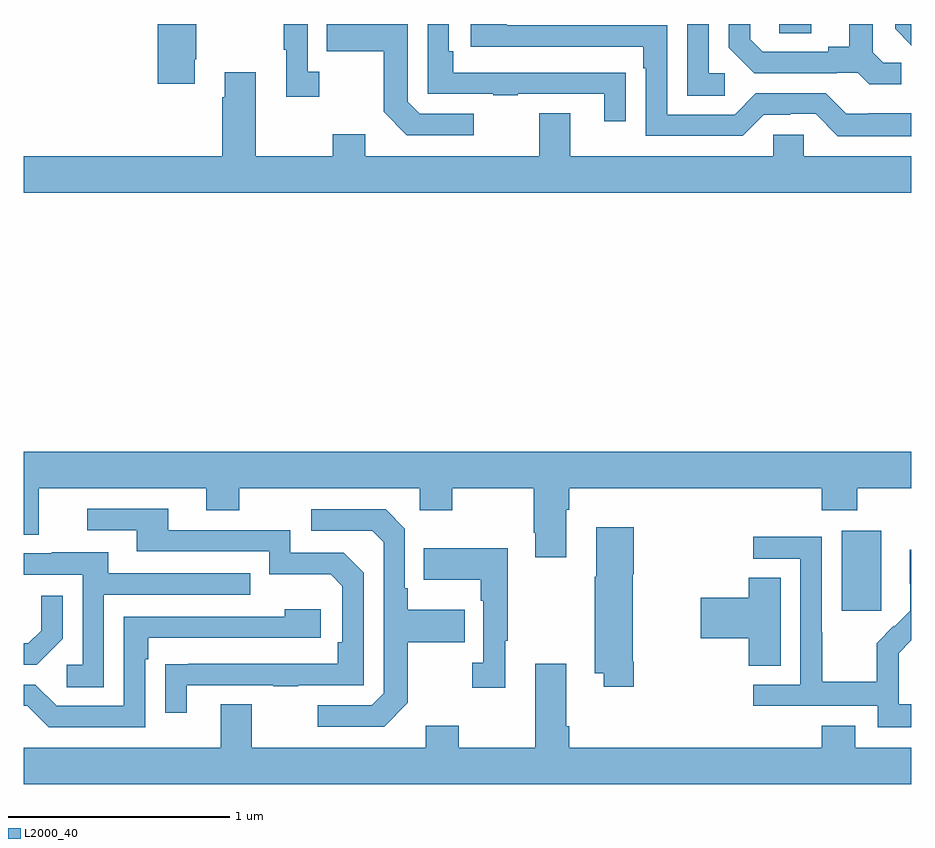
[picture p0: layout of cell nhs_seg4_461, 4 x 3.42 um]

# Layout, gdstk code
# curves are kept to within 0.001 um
import gdstk
lib = gdstk.Library(unit=1e-6, precision=1e-09)
def R(c, l, rs):  # rectangles x0, y0, x1, y1
    for r in rs: c.add(gdstk.rectangle(r[:2], r[2:], *l))
def P(c, l, *ps):  # polygons
    for p in ps: c.add(gdstk.Polygon(p, *l))
L2000_40 = (2000, 40)

nhs_seg4_461 = lib.new_cell('nhs_seg4_461')
R(nhs_seg4_461, L2000_40, [(136.685,808.257,136.864,808.618), (136.404,810.859,136.549,810.9)])
P(nhs_seg4_461, L2000_40, [(137,810.499),(136.807,810.499),(136.807,810.495),(136.707,810.495),(136.614,810.588),(136.299,810.588),(136.203,810.492),(135.9,810.492),(135.9,810.894),(135.176,810.894),(135.176,810.9),(135.015,810.9),(135.015,810.798),(135.791,810.798),(135.791,810.701),(135.804,810.701),(135.804,810.396),(136.239,810.396),(136.335,810.492),(136.454,810.492),(136.454,810.495),(136.569,810.495),(136.669,810.395),(137,810.395)],
  [(137,810.9),(136.926,810.9),(136.926,810.878),(136.999,810.805),(136.998,810.804),(137,810.802)],
  [(134.332,810.686),(134.28,810.686),(134.28,810.9),(134.172,810.9),(134.172,810.785),(134.183,810.785),(134.183,810.573),(134.332,810.573)],
  [(136.954,810.726),(136.872,810.726),(136.825,810.773),(136.825,810.9),(136.721,810.9),(136.721,810.797),(136.625,810.797),(136.625,810.774),(136.33,810.774),(136.273,810.831),(136.273,810.9),(136.176,810.9),(136.176,810.794),(136.292,810.678),(136.664,810.678),(136.664,810.681),(136.758,810.681),(136.81,810.629),(136.954,810.629)],
  [(136.159,810.678),(136.086,810.678),(136.086,810.9),(135.99,810.9),(135.99,810.577),(136.159,810.577)],
  [(133.771,810.742),(133.779,810.742),(133.779,810.9),(133.604,810.9),(133.604,810.63),(133.771,810.63)],
  [(135.713,810.68),(135.611,810.68),(135.611,810.681),(134.936,810.681),(134.936,810.778),(134.916,810.778),(134.916,810.9),(134.82,810.9),(134.82,810.585),(135.115,810.585),(135.115,810.58),(135.227,810.58),(135.227,810.585),(135.617,810.585),(135.617,810.462),(135.713,810.462)],
  [(135.028,810.495),(134.784,810.495),(134.73,810.549),(134.73,810.9),(134.365,810.9),(134.365,810.778),(134.622,810.778),(134.622,810.505),(134.727,810.399),(135.028,810.399)],
  [(137,810.304),(136.515,810.304),(136.515,810.402),(136.377,810.402),(136.377,810.304),(135.463,810.304),(135.463,810.499),(135.323,810.499),(135.323,810.304),(134.539,810.304),(134.539,810.403),(134.392,810.403),(134.392,810.304),(134.047,810.304),(134.047,810.682),(133.907,810.682),(133.907,810.569),(133.895,810.569),(133.895,810.304),(133,810.304),(133,810.14),(137,810.14)],
  [(135.445,808.712),(135.458,808.712),(135.458,808.808),(136.595,808.808),(136.595,808.709),(136.755,808.709),(136.755,808.808),(137,808.808),(137,808.972),(133,808.972),(133,808.6),(133.069,808.6),(133.069,808.808),(133.823,808.808),(133.823,808.709),(133.971,808.709),(133.971,808.808),(134.784,808.808),(134.784,808.709),(134.931,808.709),(134.931,808.808),(135.298,808.808),(135.298,808.609),(135.305,808.609),(135.305,808.497),(135.445,808.497)],
  [(133.735,807.921),(134.125,807.921),(134.125,807.916),(134.237,807.916),(134.237,807.921),(134.532,807.921),(134.532,808.428),(134.442,808.518),(134.202,808.518),(134.202,808.62),(133.651,808.62),(133.651,808.716),(133.287,808.716),(133.287,808.62),(133.511,808.62),(133.511,808.524),(134.106,808.524),(134.106,808.421),(134.383,808.421),(134.436,808.368),(134.436,808.114),(134.416,808.114),(134.416,808.017),(133.639,808.016),(133.639,807.798),(133.735,807.798)],
  [(134.731,807.841),(134.731,808.114),(134.987,808.114),(134.987,808.261),(134.731,808.261),(134.731,808.357),(134.718,808.357),(134.718,808.626),(134.631,808.713),(134.295,808.713),(134.295,808.617),(134.571,808.617),(134.622,808.566),(134.622,807.885),(134.568,807.831),(134.325,807.831),(134.325,807.735),(134.625,807.735)],
  [(135.749,808.027),(135.744,808.027),(135.744,808.42),(135.749,808.42),(135.749,808.633),(135.581,808.633),(135.581,808.409),(135.574,808.409),(135.574,807.974),(135.614,807.974),(135.614,807.915),(135.749,807.915)],
  [(137,807.835),(136.944,807.835),(136.944,807.969),(136.942,807.969),(136.942,808.066),(137,808.124),(137,808.532),(136.992,808.532),(136.992,808.378),(136.994,808.378),(136.994,808.256),(136.923,808.185),(136.92,808.188),(136.843,808.111),(136.843,807.937),(136.599,807.937),(136.599,808.16),(136.596,808.16),(136.596,808.59),(136.287,808.59),(136.287,808.491),(136.5,808.491),(136.5,807.924),(136.287,807.924),(136.287,807.828),(136.848,807.828),(136.848,807.731),(137,807.731)],
  [(135.169,808.121),(135.181,808.121),(135.181,808.537),(134.803,808.537),(134.803,808.397),(135.06,808.397),(135.06,808.301),(135.072,808.301),(135.072,808.022),(135.021,808.022),(135.021,807.909),(135.169,807.909)],
  [(133.362,808.329),(134.021,808.329),(134.021,808.425),(133.381,808.425),(133.381,808.519),(133.127,808.519),(133.127,808.515),(133,808.515),(133,808.419),(133.266,808.419),(133.266,808.014),(133.194,808.014),(133.194,807.913),(133.362,807.913)],
  [(136.411,808.406),(136.268,808.406),(136.268,808.316),(136.05,808.316),(136.05,808.133),(136.268,808.133),(136.268,808.009),(136.411,808.009)],
  [(133.176,808.13),(133.176,808.324),(133.079,808.324),(133.079,808.167),(133.022,808.11),(133,808.11),(133,808.014),(133.06,808.014)],
  [(133.548,808.037),(133.561,808.037),(133.561,808.134),(134.338,808.134),(134.338,808.264),(134.177,808.264),(134.177,808.23),(133.452,808.23),(133.452,807.828),(133.149,807.828),(133.053,807.924),(133,807.924),(133,807.828),(133.017,807.828),(133.113,807.732),(133.548,807.732)],
  [(137,807.64),(136.747,807.64),(136.747,807.739),(136.595,807.739),(136.595,807.64),(135.458,807.64),(135.458,807.736),(135.445,807.736),(135.445,808.018),(135.305,808.018),(135.305,807.64),(134.961,807.64),(134.961,807.739),(134.813,807.739),(134.813,807.64),(134.029,807.64),(134.029,807.835),(133.889,807.835),(133.889,807.64),(133,807.64),(133,807.476),(137,807.476)])

lib.write_gds('nhs_seg4_461.gds')
